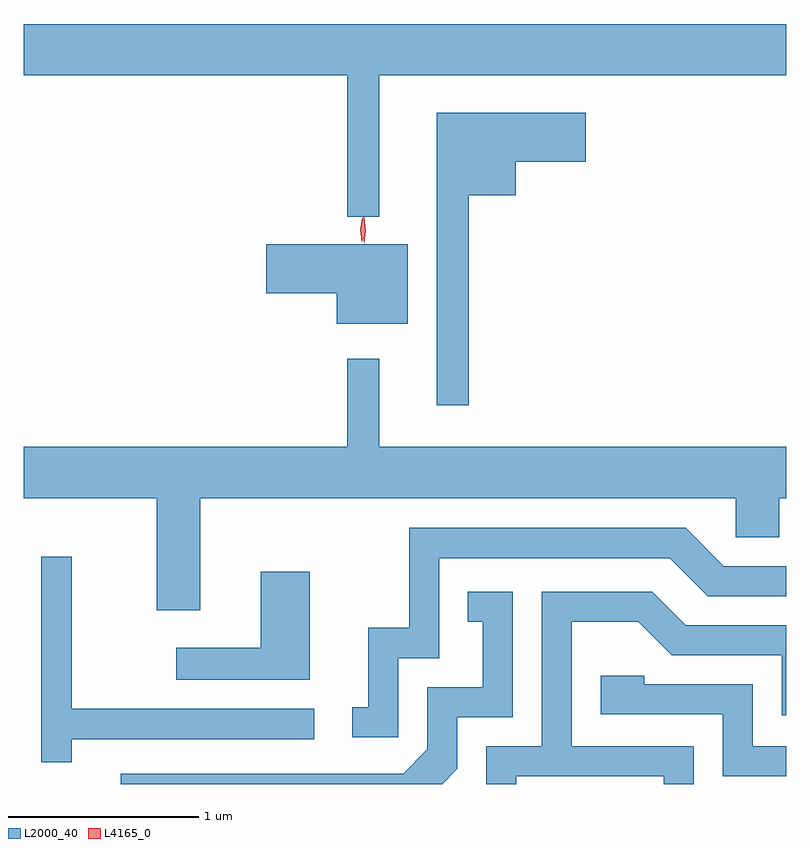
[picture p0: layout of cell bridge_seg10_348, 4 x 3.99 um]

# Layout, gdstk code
import gdstk
lib = gdstk.Library(unit=1e-6, precision=1e-09)
def P(c, l, *ps):  # polygons
    for p in ps: c.add(gdstk.Polygon(p, *l))
L2000_40 = (2000, 40)
L4165_0 = (4165, 0)

bridge_seg10_348 = lib.new_cell('bridge_seg10_348')
P(bridge_seg10_348, L2000_40, [(1220.809,2162.756),(1222.944,2162.756),(1222.944,2163.024),(1218.944,2163.024),(1218.944,2162.756),(1220.641,2162.756),(1220.641,2162.013),(1220.809,2162.013)],
  [(1221.279,2162.126),(1221.524,2162.126),(1221.524,2162.301),(1221.894,2162.301),(1221.894,2162.559),(1221.111,2162.559),(1221.111,2161.023),(1221.279,2161.023)],
  [(1220.959,2161.869),(1220.216,2161.869),(1220.216,2161.611),(1220.586,2161.611),(1220.586,2161.451),(1220.959,2161.451)],
  [(1219.869,2160.536),(1222.681,2160.536),(1222.681,2160.331),(1222.909,2160.331),(1222.909,2160.536),(1222.944,2160.536),(1222.944,2160.804),(1220.809,2160.804),(1220.809,2161.268),(1220.641,2161.268),(1220.641,2160.804),(1218.944,2160.804),(1218.944,2160.536),(1219.641,2160.536),(1219.641,2159.946),(1219.869,2159.946)],
  [(1220.909,2159.696),(1221.124,2159.696),(1221.124,2160.221),(1222.334,2160.221),(1222.534,2160.021),(1222.944,2160.021),(1222.944,2160.179),(1222.617,2160.179),(1222.417,2160.379),(1220.966,2160.379),(1220.966,2159.854),(1220.751,2159.854),(1220.751,2159.439),(1220.668,2159.439),(1220.668,2159.281),(1220.909,2159.281)],
  [(1219.194,2159.271),(1220.468,2159.271),(1220.468,2159.429),(1219.194,2159.429),(1219.194,2160.228),(1219.036,2160.228),(1219.036,2159.148),(1219.194,2159.148)],
  [(1220.444,2160.149),(1220.186,2160.149),(1220.186,2159.749),(1219.743,2159.749),(1219.743,2159.581),(1220.444,2159.581)],
  [(1221.219,2159.114),(1221.219,2159.386),(1221.509,2159.386),(1221.509,2160.044),(1221.273,2160.044),(1221.273,2159.886),(1221.351,2159.886),(1221.351,2159.544),(1221.061,2159.544),(1221.061,2159.217),(1220.934,2159.089),(1219.451,2159.089),(1219.451,2159.035),(1221.14,2159.035)],
  [(1221.529,2159.076),(1222.301,2159.076),(1222.301,2159.035),(1222.459,2159.035),(1222.459,2159.234),(1221.819,2159.234),(1221.819,2159.886),(1222.169,2159.886),(1222.344,2159.711),(1222.921,2159.711),(1222.921,2159.396),(1222.944,2159.396),(1222.944,2159.869),(1222.417,2159.869),(1222.242,2160.044),(1221.661,2160.044),(1221.661,2159.234),(1221.371,2159.234),(1221.371,2159.035),(1221.529,2159.035)],
  [(1222.944,2159.234),(1222.769,2159.234),(1222.769,2159.559),(1222.199,2159.559),(1222.199,2159.604),(1221.971,2159.604),(1221.971,2159.401),(1222.611,2159.401),(1222.611,2159.076),(1222.944,2159.076)])
P(bridge_seg10_348, L4165_0, [(1220.729,2161.874),(1220.719,2161.942),(1220.728,2162.01),(1220.728,2162.01),(1220.729,2162.01),(1220.739,2161.942),(1220.73,2161.874),(1220.73,2161.874)],
  [(1220.719,2161.88),(1220.718,2161.881),(1220.71,2161.944),(1220.72,2162.006),(1220.721,2162.007),(1220.721,2162.006),(1220.73,2161.943),(1220.719,2161.881)])

lib.write_gds('bridge_seg10_348.gds')
